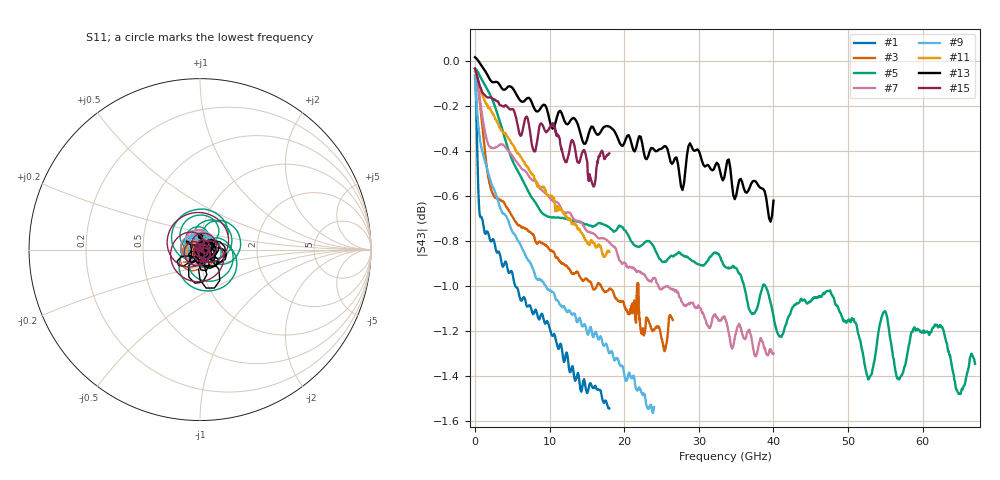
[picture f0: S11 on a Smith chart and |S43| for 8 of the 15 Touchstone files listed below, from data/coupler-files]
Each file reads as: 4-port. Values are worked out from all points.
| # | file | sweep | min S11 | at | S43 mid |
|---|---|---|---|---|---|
| 1 | C09-0R418.s4p | 10 MHz to 18 GHz | -49.9 dB | 1.404 GHz | -1.1 dB at 9.005 GHz |
| 2 | C09-0R430.s4p | 10 MHz to 32 GHz | -67.7 dB | 936.9 MHz | -0.7 dB at 985.1 MHz |
| 3 | C10-0226.s4p | 10 MHz to 26.5 GHz | -56.0 dB | 1.301 GHz | -0.9 dB at 13.26 GHz |
| 4 | C10-0450.s4p | 10 MHz to 60 GHz | -41.4 dB | 10 MHz | -1.1 dB at 30.01 GHz |
| 5 | C10-0667.s4p | 10 MHz to 67 GHz | -48.8 dB | 8.802 GHz | -0.9 dB at 33.51 GHz |
| 6 | C13-0126.s4p | 10 MHz to 26.5 GHz | -46.8 dB | 9.977 GHz | -0.7 dB at 13.26 GHz |
| 7 | C13-0140.s4p | 10 MHz to 40 GHz | -54.5 dB | 2.509 GHz | -0.9 dB at 20 GHz |
| 8 | C13-0150.s4p | 10 MHz to 60 GHz | -43.6 dB | 10 MHz | -1.0 dB at 30.01 GHz |
| 9 | C20-0R518.s4p | 10 MHz to 24 GHz | -46.0 dB | 2.589 GHz | -1.1 dB at 12.01 GHz |
| 10 | C20-0R612.s4p | 10 MHz to 15 GHz | -39.9 dB | 9.66 GHz | -0.6 dB at 7.505 GHz |
| 11 | C20-0116.s4p | 10 MHz to 18 GHz | -44.5 dB | 999.5 MHz | -0.6 dB at 9.005 GHz |
| 12 | C20-0226.s4p | 10 MHz to 26.5 GHz | -51.2 dB | 1.831 GHz | -0.5 dB at 13.26 GHz |
| 13 | C20-0240.s4p | 10 MHz to 40 GHz | -43.3 dB | 24.01 GHz | -0.4 dB at 20.01 GHz |
| 14 | C-0265.s4p | 10 MHz to 65 GHz | -44.8 dB | 172.5 MHz | -0.7 dB at 32.51 GHz |
| 15 | CA-18.s4p | 10 MHz to 18 GHz | -45.2 dB | 3.226 GHz | -0.3 dB at 9.005 GHz |
